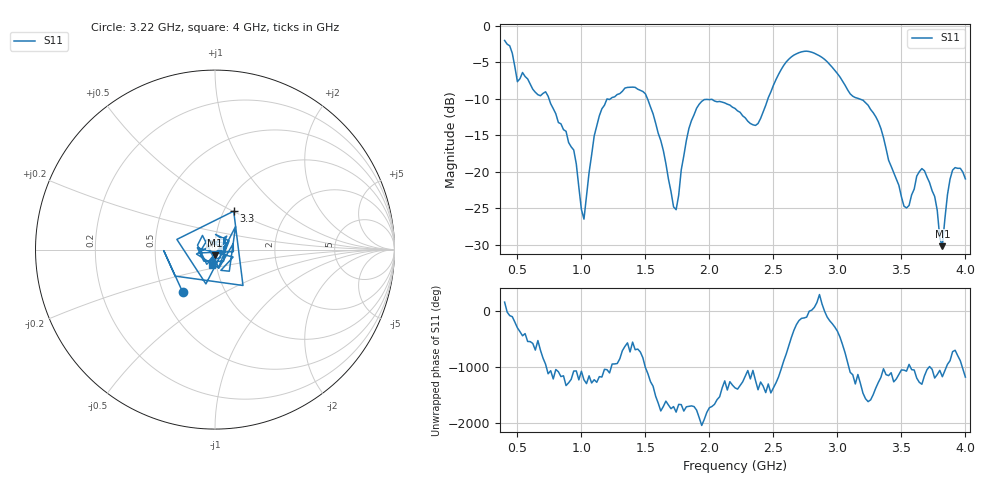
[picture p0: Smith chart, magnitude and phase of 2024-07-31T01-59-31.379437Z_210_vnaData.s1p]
!Created with skrf (http://scikit-rf.org).
# Hz S RI R 50.0
!freq ReS11 ImS11
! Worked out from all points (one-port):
!   181 points, 400 MHz to 4 GHz, reference 50 ohm
!   lowest |S11| = -30.2 dB at 3.82 GHz (marker M1), VSWR 1.06, Z = 49.7 - j3.08 ohm
!   |S11| at or under -10 dB: 746.6 MHz to 1.228 GHz (481.2 MHz wide, 48.7 % of centre); 1.516 GHz to 2.457 GHz (941.3 MHz wide, 47.4 % of centre); 3.168 GHz to end of sweep
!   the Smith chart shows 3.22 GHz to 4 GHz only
!   S11 on the Smith chart (normalised r, x): 3.22 GHz: 0.63, -0.32; 3.3 GHz: 1.11, +0.50; 4 GHz: 0.95, -0.17
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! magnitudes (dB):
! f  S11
! 400 MHz  -2.0
! 500 MHz  -7.7
! 720 MHz  -9.1
! 860 MHz  -14.2
! 940 MHz  -17.0
! 1.02 GHz  -26.5
! 1.14 GHz  -12.3
! 1.3 GHz  -9.3
! 1.5 GHz  -9.3
! 1.64 GHz  -17.1
! 1.72 GHz  -24.8
! 1.76 GHz  -23.2
! 1.84 GHz  -14.1
! 1.92 GHz  -10.8
! 2.2 GHz  -11.3
! 2.38 GHz  -13.4
! 2.66 GHz  -4.0
! 2.88 GHz  -4.4
! 3.1 GHz  -9.3
! 3.22 GHz  -10.6
! 3.3 GHz  -12.5
! 3.52 GHz  -24.7
! 3.56 GHz  -24.6
! 3.68 GHz  -19.8
! 3.76 GHz  -23.4
! 3.82 GHz  -30.2
! 3.9 GHz  -19.8
! 4 GHz  -21.0
